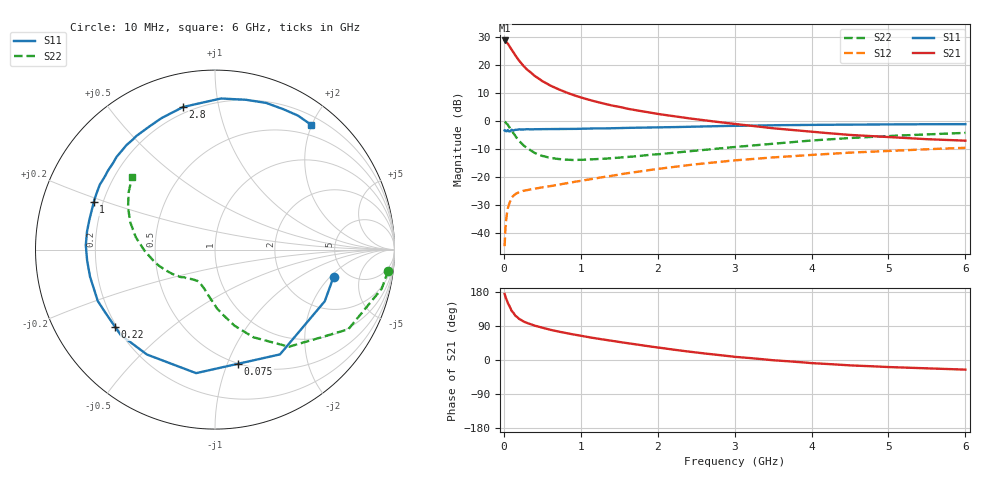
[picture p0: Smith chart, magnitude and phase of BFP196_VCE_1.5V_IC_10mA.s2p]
! Infineon Technologies  Discrete & RF Semiconductors
! BFP196
! VCE = 1.5 V,  IC =  10mA
! Common Emitter S-Parameters:  Jan 2016
# GHz  S  MA  R  50
!  f  S11  S21  S12  S22
! GHz  MAG  ANG  MAG  ANG  MAG  ANG  MAG  ANG
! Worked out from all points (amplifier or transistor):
!   210 points, 10 MHz to 6 GHz, reference 50 ohm
!   highest |S21| = 28.9 dB at 10 MHz (marker M1)
!   |S21| within 3 dB of that: start of sweep to 95.13 MHz
!   unconditionally stable (mu >= 1): 848.4 MHz to 3.439 GHz; 3.628 GHz to 3.946 GHz
!   at 185 MHz: K = 0.31, MSG = 23.9 dB, |S12| = -25.7 dB
!   at 1.52 GHz: K = 1.16, MAG = 9.6 dB, |S12| = -19.1 dB
!   at 6 GHz: K = 0.99, MSG = 1.3 dB, |S12| = -9.6 dB
!   S11 on the Smith chart (normalised r, x): 10 MHz: 3.90, -2.20; 75 MHz: 0.50, -1.09; 220 MHz: 0.19, -0.33; 1 GHz: 0.16, +0.18; 2.8 GHz: 0.17, +0.79; 6 GHz: 0.33, +1.98
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0.01  0.6778 -13.0  27.8 174.5  0.0057 84.5  0.9721 -6.9
0.02  0.6759 -25.2  27.05 167.1  0.0118 77.6  0.954 -13.2
0.05  0.687 -58.2  24.7 150.6  0.0269 64.8  0.8653 -30.9
0.075  0.6489 -78.6  21.65 141.6  0.0343 54.6  0.759 -40.5
0.1  0.6963 -98.7  19.29 130.1  0.0423 48.2  0.6801 -52.7
0.15  0.6968 -123.0  14.93 116.8  0.0492 39.4  0.5336 -66.3
0.2  0.7088 -137.9  12.02 108.3  0.0532 35.1  0.4378 -75.6
0.22  0.7039 -142.2  11.15 106.1  0.0543 33.9  0.4102 -78.1
0.26  0.7048 -150.2  9.581 101.2  0.0563 32.2  0.3617 -83.5
0.3  0.7131 -156.3  8.41 97.5  0.0578 31.6  0.3276 -88.1
0.4  0.7124 -167.7  6.453 90.6  0.061 31.5  0.2683 -96.5
0.5  0.7151 -175.1  5.186 85.0  0.0646 32.6  0.2365 -102.6
0.7  0.7202 172.0  3.757 75.3  0.0715 35.6  0.209 -111.9
1  0.726 158.7  2.644 64.0  0.0845 39.9  0.2009 -121.2
1.02  0.7266 157.9  2.597 63.3  0.0855 40.1  0.2014 -121.7
1.4  0.7411 143.5  1.903 50.7  0.1039 42.3  0.2154 -130.7
2.02  0.7702 124.0  1.327 32.5  0.1394 41.6  0.2545 -145.1
2.8  0.8138 102.7  0.956 13.0  0.1848 36.0  0.3223 -163.3
3.1  0.8202 95.7  0.855 6.8  0.2018 32.8  0.3509 -170.4
4.1  0.8537 76.8  0.623 -9.3  0.2512 22.1  0.4559 169.1
5.1  0.8707 62.9  0.506 -19.3  0.2954 10.8  0.5454 152.5
6  0.8774 52.5  0.444 -25.4  0.3306 0.2  0.6129 139.0
